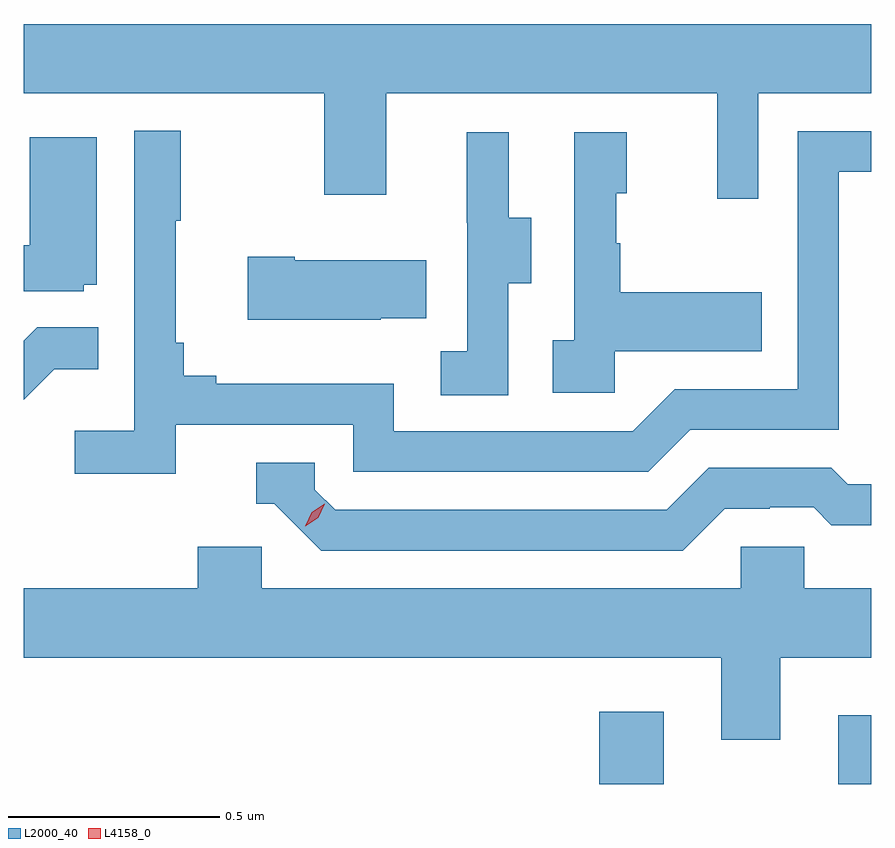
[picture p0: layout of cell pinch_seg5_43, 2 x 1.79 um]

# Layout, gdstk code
import gdstk
lib = gdstk.Library(unit=1e-6, precision=1e-09)
def R(c, l, rs):  # rectangles x0, y0, x1, y1
    for r in rs: c.add(gdstk.rectangle(r[:2], r[2:], *l))
def P(c, l, *ps):  # polygons
    for p in ps: c.add(gdstk.Polygon(p, *l))
L2000_40 = (2000, 40)
L4158_0 = (4158, 0)

pinch_seg5_43 = lib.new_cell('pinch_seg5_43')
R(pinch_seg5_43, L2000_40, [(1085.777,905.746,1085.929,905.917), (1086.341,905.746,1086.419,905.908)])
P(pinch_seg5_43, L2000_40, [(1086.153,907.376),(1086.419,907.376),(1086.419,907.54),(1084.419,907.54),(1084.419,907.376),(1085.128,907.376),(1085.128,907.137),(1085.275,907.137),(1085.275,907.376),(1086.056,907.376),(1086.056,907.128),(1086.153,907.128)],
  [(1084.778,906.594),(1085.196,906.594),(1085.196,906.483),(1085.893,906.483),(1085.992,906.582),(1086.342,906.582),(1086.342,907.191),(1086.419,907.191),(1086.419,907.287),(1086.246,907.287),(1086.246,906.678),(1085.955,906.678),(1085.856,906.579),(1085.292,906.579),(1085.292,906.691),(1084.873,906.691),(1084.873,906.71),(1084.796,906.71),(1084.796,906.787),(1084.777,906.787),(1084.777,907.075),(1084.789,907.075),(1084.789,907.288),(1084.68,907.288),(1084.68,906.58),(1084.539,906.58),(1084.539,906.478),(1084.778,906.478)],
  [(1085.562,906.928),(1085.617,906.928),(1085.617,907.083),(1085.563,907.083),(1085.563,907.285),(1085.465,907.285),(1085.465,907.071),(1085.466,907.071),(1085.466,906.767),(1085.403,906.767),(1085.403,906.664),(1085.562,906.664)],
  [(1085.814,906.767),(1086.161,906.767),(1086.161,906.907),(1085.827,906.907),(1085.827,907.022),(1085.817,907.022),(1085.817,907.14),(1085.842,907.14),(1085.842,907.285),(1085.718,907.285),(1085.718,906.794),(1085.667,906.794),(1085.667,906.669),(1085.814,906.669)],
  [(1084.56,906.924),(1084.591,906.924),(1084.591,907.273),(1084.433,907.273),(1084.433,907.018),(1084.419,907.018),(1084.419,906.909),(1084.56,906.909)],
  [(1085.261,906.845),(1085.369,906.845),(1085.369,906.982),(1085.059,906.982),(1085.059,906.99),(1084.947,906.99),(1084.947,906.842),(1085.261,906.842)],
  [(1084.491,906.725),(1084.595,906.725),(1084.595,906.824),(1084.451,906.824),(1084.419,906.792),(1084.419,906.653)],
  [(1086.073,906.396),(1086.18,906.396),(1086.18,906.399),(1086.283,906.399),(1086.325,906.357),(1086.419,906.357),(1086.419,906.453),(1086.364,906.453),(1086.325,906.492),(1086.036,906.492),(1085.937,906.393),(1085.154,906.393),(1085.106,906.441),(1085.106,906.504),(1084.967,906.504),(1084.967,906.408),(1085.01,906.408),(1085.121,906.297),(1085.974,906.297)],
  [(1086.205,906.044),(1086.419,906.044),(1086.419,906.208),(1086.261,906.208),(1086.261,906.306),(1086.111,906.306),(1086.111,906.208),(1084.98,906.208),(1084.98,906.306),(1084.829,906.306),(1084.829,906.208),(1084.419,906.208),(1084.419,906.044),(1086.065,906.044),(1086.065,905.85),(1086.205,905.85)])
P(pinch_seg5_43, L4158_0, [(1085.083,906.355),(1085.083,906.355),(1085.098,906.388),(1085.129,906.408),(1085.129,906.408),(1085.129,906.408),(1085.114,906.375),(1085.083,906.355)])

lib.write_gds('pinch_seg5_43.gds')
